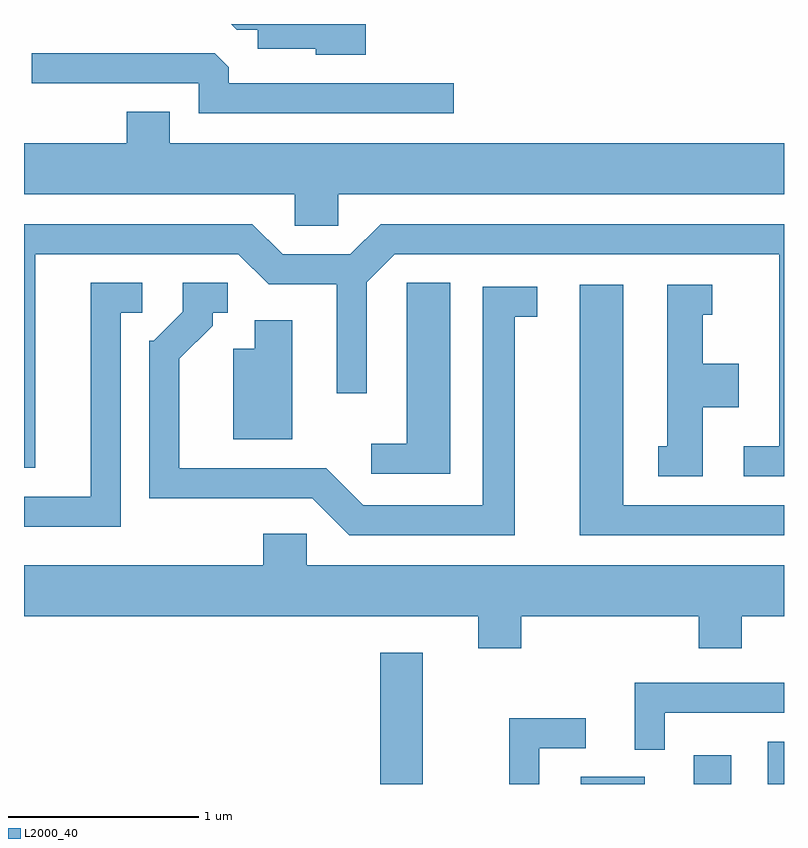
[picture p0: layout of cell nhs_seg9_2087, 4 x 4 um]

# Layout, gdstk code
import gdstk
lib = gdstk.Library(unit=1e-6, precision=1e-09)
def R(c, l, rs):  # rectangles x0, y0, x1, y1
    for r in rs: c.add(gdstk.rectangle(r[:2], r[2:], *l))
def P(c, l, *ps):  # polygons
    for p in ps: c.add(gdstk.Polygon(p, *l))
L2000_40 = (2000, 40)

nhs_seg9_2087 = lib.new_cell('nhs_seg9_2087')
R(nhs_seg9_2087, L2000_40, [(247.486,2046.432,247.709,2047.124), (248.541,2046.432,248.879,2046.469), (249.136,2046.432,249.334,2046.584), (249.526,2046.432,249.611,2046.654)])
P(nhs_seg9_2087, L2000_40, [(247.409,2050.432),(246.701,2050.432),(246.732,2050.401),(246.841,2050.401),(246.841,2050.301),(247.146,2050.301),(247.146,2050.271),(247.409,2050.271)],
  [(247.873,2050.119),(246.689,2050.119),(246.689,2050.204),(246.614,2050.279),(245.653,2050.279),(245.653,2050.121),(246.531,2050.121),(246.531,2049.961),(247.873,2049.961)],
  [(247.264,2049.536),(249.611,2049.536),(249.611,2049.804),(246.379,2049.804),(246.379,2049.969),(246.151,2049.969),(246.151,2049.804),(245.611,2049.804),(245.611,2049.536),(247.036,2049.536),(247.036,2049.371),(247.264,2049.371)],
  [(249.611,2049.379),(247.489,2049.379),(247.329,2049.219),(246.972,2049.219),(246.812,2049.379),(245.611,2049.379),(245.611,2048.096),(245.669,2048.096),(245.669,2049.221),(246.739,2049.221),(246.899,2049.061),(247.256,2049.061),(247.256,2048.488),(247.414,2048.488),(247.414,2049.074),(247.562,2049.221),(249.586,2049.221),(249.586,2048.209),(249.398,2048.209),(249.398,2048.051),(249.611,2048.051)],
  [(246.119,2048.911),(246.233,2048.911),(246.233,2049.069),(245.961,2049.069),(245.961,2047.944),(245.611,2047.944),(245.611,2047.786),(246.119,2047.786)],
  [(248.194,2048.891),(248.313,2048.891),(248.313,2049.049),(248.026,2049.049),(248.026,2047.899),(247.397,2047.899),(247.202,2048.094),(246.429,2048.094),(246.429,2048.669),(246.604,2048.844),(246.604,2048.911),(246.683,2048.911),(246.683,2049.069),(246.446,2049.069),(246.446,2048.917),(246.294,2048.764),(246.271,2048.764),(246.271,2047.936),(247.129,2047.936),(247.324,2047.741),(248.194,2047.741)],
  [(247.854,2049.069),(247.626,2049.069),(247.626,2048.224),(247.438,2048.224),(247.438,2048.066),(247.854,2048.066)],
  [(249.611,2047.899),(248.764,2047.899),(248.764,2049.059),(248.536,2049.059),(248.536,2047.741),(249.611,2047.741)],
  [(249.184,2048.416),(249.374,2048.416),(249.374,2048.644),(249.184,2048.644),(249.184,2048.901),(249.233,2048.901),(249.233,2049.059),(248.996,2049.059),(248.996,2048.209),(248.948,2048.209),(248.948,2048.051),(249.184,2048.051)],
  [(247.024,2048.874),(246.826,2048.874),(246.826,2048.724),(246.711,2048.724),(246.711,2048.246),(247.024,2048.246)],
  [(248.229,2047.316),(249.161,2047.316),(249.161,2047.146),(249.389,2047.146),(249.389,2047.316),(249.611,2047.316),(249.611,2047.584),(247.099,2047.584),(247.099,2047.749),(246.871,2047.749),(246.871,2047.584),(245.611,2047.584),(245.611,2047.316),(248.001,2047.316),(248.001,2047.146),(248.229,2047.146)],
  [(248.984,2046.806),(249.611,2046.806),(249.611,2046.964),(248.826,2046.964),(248.826,2046.613),(248.984,2046.613)],
  [(248.324,2046.621),(248.568,2046.621),(248.568,2046.779),(248.166,2046.779),(248.166,2046.432),(248.324,2046.432)])

lib.write_gds('nhs_seg9_2087.gds')
